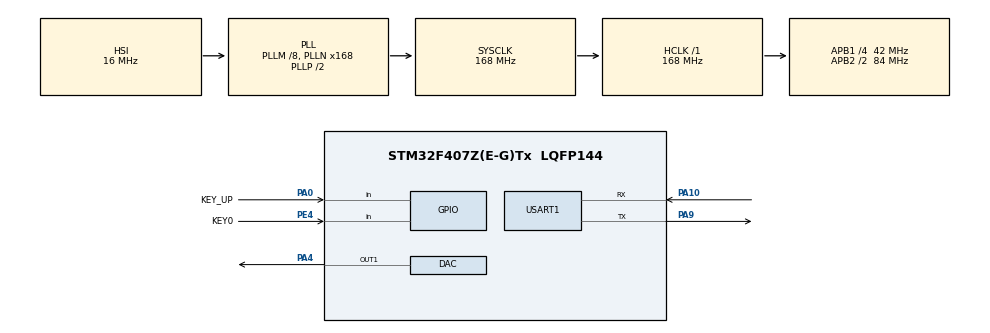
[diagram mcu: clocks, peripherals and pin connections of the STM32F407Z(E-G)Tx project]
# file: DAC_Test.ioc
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DAC.DAC_OutputBuffer=DAC_OUTPUTBUFFER_DISABLE
Mcu.Family=STM32F4
Mcu.Name=STM32F407Z(E-G)Tx
Mcu.Package=LQFP144
NVIC.PriorityGroup=NVIC_PRIORITYGROUP_4
PA0-WKUP.GPIO_Label=KEY_UP
PA0-WKUP.GPIO_PuPd=GPIO_PULLDOWN
PA0-WKUP.Signal=GPIO_Input
PA10.Mode=Asynchronous
PA10.Signal=USART1_RX
PA13.Mode=Serial_Wire
PA13.Signal=SYS_JTMS-SWDIO
PA14.Mode=Serial_Wire
PA14.Signal=SYS_JTCK-SWCLK
PA4.Signal=COMP_DAC1_group
PA9.Mode=Asynchronous
PA9.Signal=USART1_TX
PE4.GPIO_Label=KEY0
PE4.GPIO_PuPd=GPIO_PULLDOWN
PE4.Signal=GPIO_Input
PH0-OSC_IN.Mode=HSE-External-Oscillator
PH0-OSC_IN.Signal=RCC_OSC_IN
PH1-OSC_OUT.Mode=HSE-External-Oscillator
PH1-OSC_OUT.Signal=RCC_OSC_OUT
ProjectManager.HeapSize=0x8000
ProjectManager.StackSize=0x8000
ProjectManager.TargetToolchain=STM32CubeIDE
RCC.48MHZClocksFreq_Value=84000000
RCC.AHBFreq_Value=168000000
RCC.APB1CLKDivider=RCC_HCLK_DIV4
RCC.APB1Freq_Value=42000000
RCC.APB1TimFreq_Value=84000000
RCC.APB2CLKDivider=RCC_HCLK_DIV2
RCC.APB2Freq_Value=84000000
RCC.APB2TimFreq_Value=168000000
RCC.CortexFreq_Value=168000000
RCC.HCLKFreq_Value=168000000
RCC.HSE_VALUE=25000000
RCC.HSI_VALUE=16000000
RCC.LSE_VALUE=32768
RCC.PLLM=8
RCC.PLLN=168
RCC.SYSCLKFreq_VALUE=168000000
RCC.SYSCLKSource=RCC_SYSCLKSOURCE_PLLCLK
RCC.VCOOutputFreq_Value=336000000
SH.COMP_DAC1_group.0=DAC_OUT1,DAC_OUT1
USART1.VirtualMode=VM_ASYNC
board=custom

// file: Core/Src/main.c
/* USER CODE BEGIN Header */
/**
  ******************************************************************************
  * @file           : main.c
  * @brief          : Main program body
  ******************************************************************************
  * @attention
  *
  * <h2><center>&copy; Copyright (c) 2021 STMicroelectronics.
  * All rights reserved.</center></h2>
  *
  * This software component is licensed by ST under BSD 3-Clause license,
  * the "License"; You may not use this file except in compliance with the
  * License. You may obtain a copy of the License at:
  *                        opensource.org/licenses/BSD-3-Clause
  *
  ******************************************************************************
  */
/* USER CODE END Header */
#include "main.h"
#include "dac.h"
#include "usart.h"
#include "gpio.h"

/* USER CODE BEGIN Includes */
#include "stdio.h"
/* USER CODE END Includes */

void SystemClock_Config(void);

int main(void)
{

  /* MCU Configuration--------------------------------------------------------*/

  /* Reset of all peripherals, Initializes the Flash interface and the Systick. */
  HAL_Init();

  /* Configure the system clock */
  SystemClock_Config();

  /* Initialize all configured peripherals */
  MX_GPIO_Init();
  MX_USART1_UART_Init();
  MX_DAC_Init();
  /* USER CODE BEGIN 2 */
  printf("DAC Testing compile date: %s %s\r\n", __DATE__, __TIME__);
//  uint16_t value = 0x0800;
//  uint16_t value = 93;//75mV
  uint16_t  value = 24; // 20mV
  HAL_DAC_SetValue(&hdac, DAC_CHANNEL_1, DAC_ALIGN_12B_R, value);
  if (HAL_DAC_Start(&hdac, DAC_CHANNEL_1) != HAL_OK)
  {
    /* Start Error */
    Error_Handler();
  }
  printf("value = %d, voltage = %.1fmV\r\n", value, (value*3.3f*1000/0x0FFF));
  /* USER CODE END 2 */

  /* Infinite loop */
  while (1)
  {

    /* USER CODE BEGIN 3 */
      if(HAL_GPIO_ReadPin(KEY0_GPIO_Port, KEY0_Pin) == SET)
      {
          HAL_Delay(10);
          if (HAL_GPIO_ReadPin(KEY0_GPIO_Port, KEY0_Pin) == SET)
          {
              while (HAL_GPIO_ReadPin(KEY0_GPIO_Port, KEY0_Pin) == SET);
              value--;
              printf("value = %d, voltage = %.1fmV\r\n", value, (value*3.3f*1000/0x0FFF));
              HAL_DAC_SetValue(&hdac, DAC_CHANNEL_1, DAC_ALIGN_12B_R, value);
          }
          HAL_Delay(10);
      }
      else if(HAL_GPIO_ReadPin(KEY_UP_GPIO_Port, KEY_UP_Pin) == SET)
      {
          HAL_Delay(10);
          if (HAL_GPIO_ReadPin(KEY_UP_GPIO_Port, KEY_UP_Pin) == SET)
          {
              while (HAL_GPIO_ReadPin(KEY_UP_GPIO_Port, KEY_UP_Pin) == SET);
              value++;
              printf("value = %d, voltage = %.1fmV\r\n", value, (value*3.3f*1000/0x0FFF));
              HAL_DAC_SetValue(&hdac, DAC_CHANNEL_1, DAC_ALIGN_12B_R, value);
          }
          HAL_Delay(10);
      }
  }
  /* USER CODE END 3 */
}

void SystemClock_Config(void)
{
  RCC_OscInitTypeDef RCC_OscInitStruct = {0};
  RCC_ClkInitTypeDef RCC_ClkInitStruct = {0};

  /** Configure the main internal regulator output voltage
  */
  __HAL_RCC_PWR_CLK_ENABLE();
  __HAL_PWR_VOLTAGESCALING_CONFIG(PWR_REGULATOR_VOLTAGE_SCALE1);
  /** Initializes the RCC Oscillators according to the specified parameters
  * in the RCC_OscInitTypeDef structure.
  */
  RCC_OscInitStruct.OscillatorType = RCC_OSCILLATORTYPE_HSI;
  RCC_OscInitStruct.HSIState = RCC_HSI_ON;
  RCC_OscInitStruct.HSICalibrationValue = RCC_HSICALIBRATION_DEFAULT;
  RCC_OscInitStruct.PLL.PLLState = RCC_PLL_ON;
  RCC_OscInitStruct.PLL.PLLSource = RCC_PLLSOURCE_HSI;
  RCC_OscInitStruct.PLL.PLLM = 8;
  RCC_OscInitStruct.PLL.PLLN = 168;
  RCC_OscInitStruct.PLL.PLLP = RCC_PLLP_DIV2;
  RCC_OscInitStruct.PLL.PLLQ = 4;
  if (HAL_RCC_OscConfig(&RCC_OscInitStruct) != HAL_OK)
  {
    Error_Handler();
  }
  /** Initializes the CPU, AHB and APB buses clocks
  */
  RCC_ClkInitStruct.ClockType = RCC_CLOCKTYPE_HCLK|RCC_CLOCKTYPE_SYSCLK
                              |RCC_CLOCKTYPE_PCLK1|RCC_CLOCKTYPE_PCLK2;
  RCC_ClkInitStruct.SYSCLKSource = RCC_SYSCLKSOURCE_PLLCLK;
  RCC_ClkInitStruct.AHBCLKDivider = RCC_SYSCLK_DIV1;
  RCC_ClkInitStruct.APB1CLKDivider = RCC_HCLK_DIV4;
  RCC_ClkInitStruct.APB2CLKDivider = RCC_HCLK_DIV2;

  if (HAL_RCC_ClockConfig(&RCC_ClkInitStruct, FLASH_LATENCY_5) != HAL_OK)
  {
    Error_Handler();
  }
}

void Error_Handler(void)
{
  __disable_irq();
  while (1)
  {
  }
}

/************************ (C) COPYRIGHT STMicroelectronics *****END OF FILE****/
